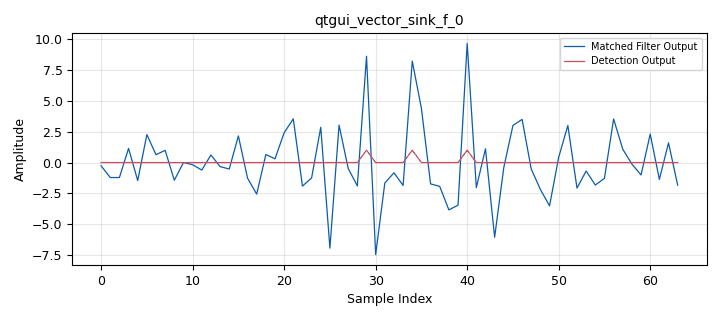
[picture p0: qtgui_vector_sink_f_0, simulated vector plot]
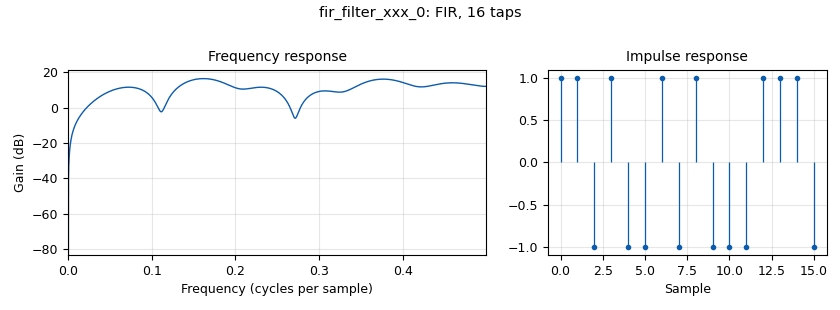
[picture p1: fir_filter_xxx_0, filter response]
options:
  parameters:
    generate_options: qt_gui
    id: exp8
    output_language: python
    title: Threshold Detection
  states: {}

blocks:
- name: samp_rate
  id: variable
  parameters:
    value: '1000'
  states: {}
- name: analog_noise_source_x_0
  id: analog_noise_source_x
  parameters:
    amp: '0.5'
    noise_type: analog.GR_GAUSSIAN
    seed: '0'
    type: float
  states: {}
- name: blocks_add_const_vxx_0
  id: blocks_add_const_vxx
  parameters:
    const: '-8'
    type: float
  states: {}
- name: blocks_add_xx_0
  id: blocks_add_xx
  parameters:
    type: float
  states: {}
- name: blocks_char_to_float_0
  id: blocks_char_to_float
  parameters:
    scale: '1'
  states: {}
- name: blocks_stream_to_vector_0_0
  id: blocks_stream_to_vector
  parameters:
    num_items: '64'
    type: float
  states: {}
- name: blocks_stream_to_vector_0_0_0
  id: blocks_stream_to_vector
  parameters:
    num_items: '64'
    type: float
  states: {}
- name: blocks_vector_source_x_0
  id: blocks_vector_source_x
  parameters:
    repeat: 'True'
    type: float
    vector: (0,)*20 + (1, 1, -1, 1, -1, -1, 1, -1, 1, -1, -1, -1, 1, 1, 1, -1) + (0,)*28
  states: {}
- name: digital_binary_slicer_fb_0
  id: digital_binary_slicer_fb
  parameters: {}
  states: {}
- name: fir_filter_xxx_0
  id: fir_filter_xxx
  parameters:
    decim: '1'
    taps: (1, 1, -1, 1, -1, -1, 1, -1, 1, -1, -1, -1, 1, 1, 1, -1)
    type: fff
  states: {}
- name: qtgui_vector_sink_f_0
  id: qtgui_vector_sink_f
  parameters:
    autoscale: 'True'
    average: '0.05'
    grid: 'True'
    label1: Matched Filter Output
    label2: Detection Output
    nconnections: '2'
    update_time: '3'
    vlen: '64'
    x_axis_label: Sample Index
    x_start: '0'
    x_step: '1.0'
    y_axis_label: Amplitude
  states: {}

connections:
- [analog_noise_source_x_0, '0', blocks_add_xx_0, '1']
- [blocks_add_const_vxx_0, '0', digital_binary_slicer_fb_0, '0']
- [blocks_add_xx_0, '0', fir_filter_xxx_0, '0']
- [blocks_char_to_float_0, '0', blocks_stream_to_vector_0_0_0, '0']
- [blocks_stream_to_vector_0_0, '0', qtgui_vector_sink_f_0, '0']
- [blocks_stream_to_vector_0_0_0, '0', qtgui_vector_sink_f_0, '1']
- [blocks_vector_source_x_0, '0', blocks_add_xx_0, '0']
- [digital_binary_slicer_fb_0, '0', blocks_char_to_float_0, '0']
- [fir_filter_xxx_0, '0', blocks_add_const_vxx_0, '0']
- [fir_filter_xxx_0, '0', blocks_stream_to_vector_0_0, '0']

metadata:
  file_format: 1
  grc_version: 3.10.12.0
